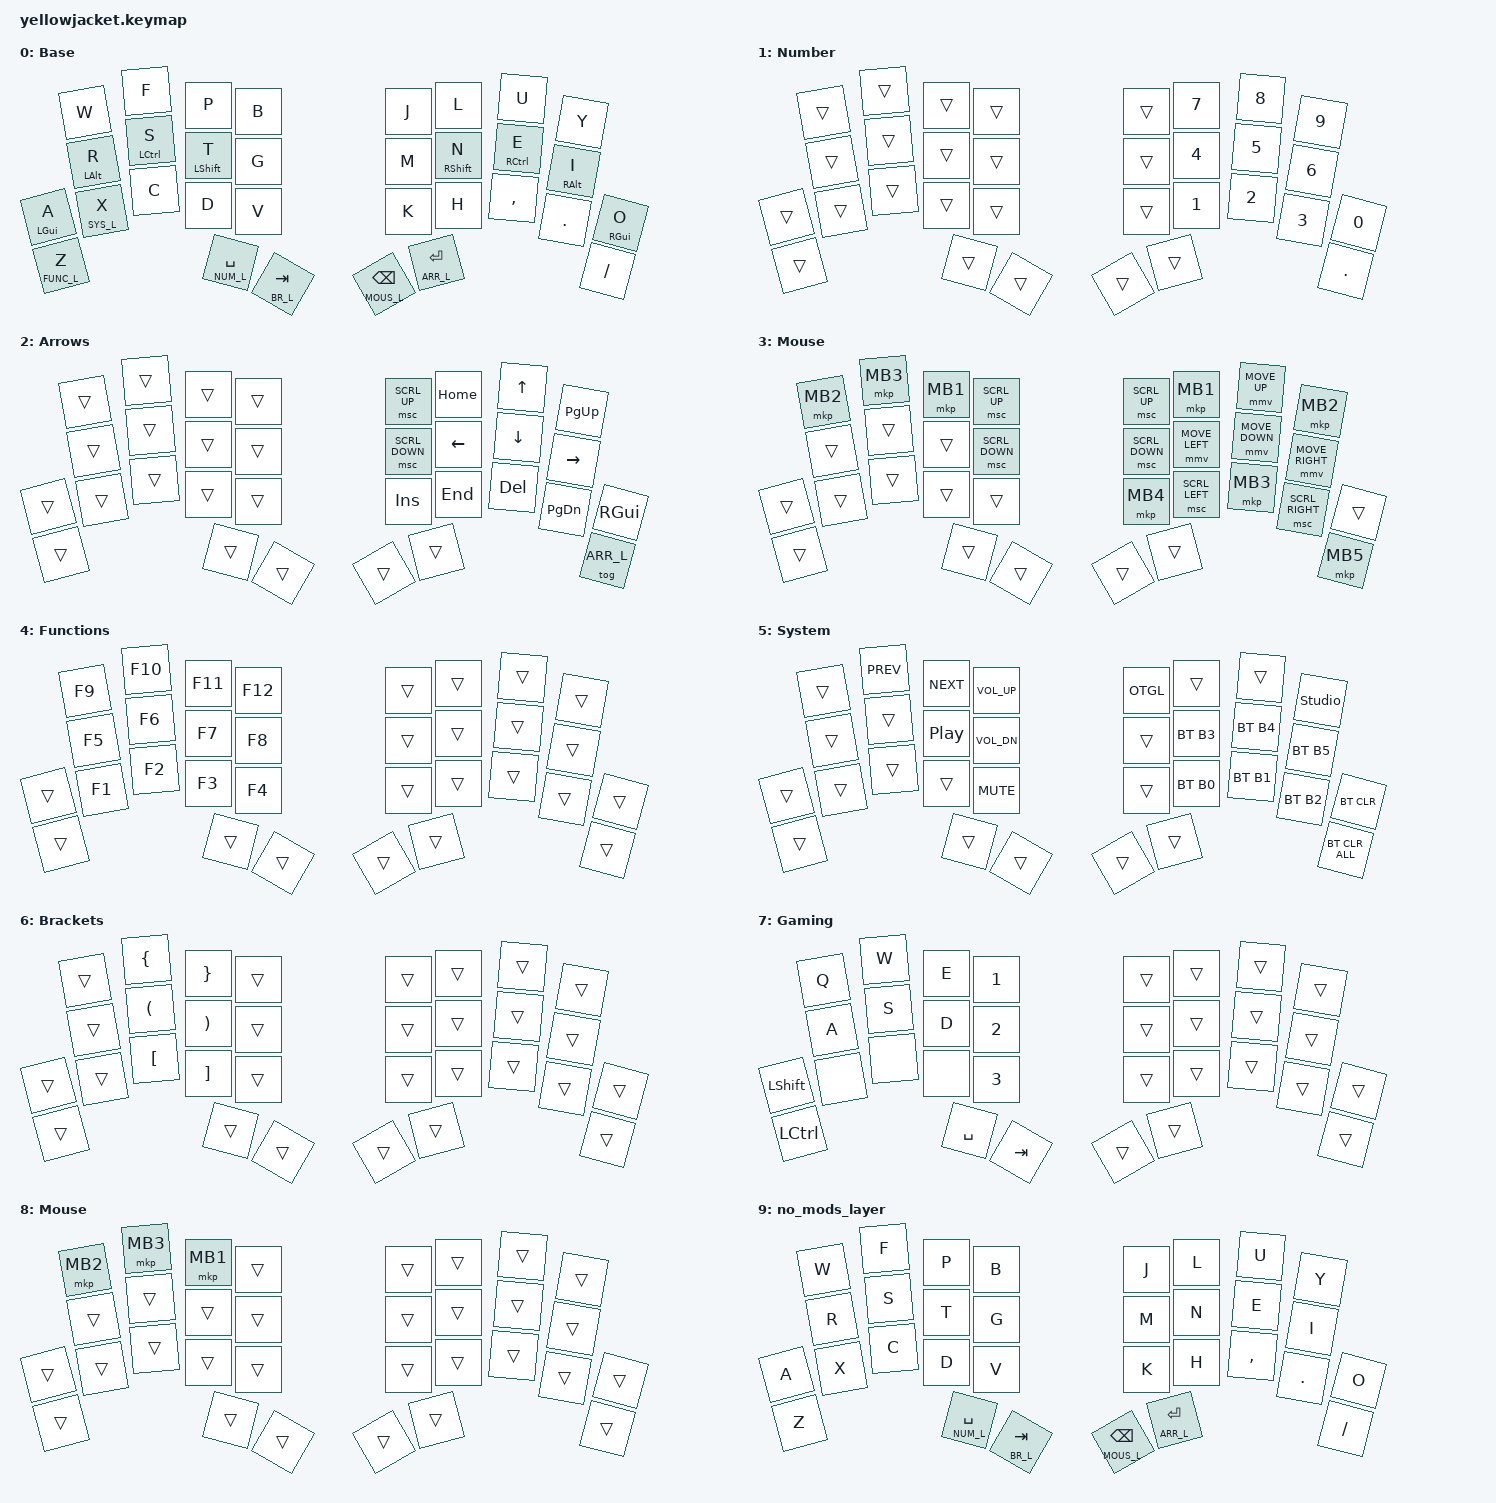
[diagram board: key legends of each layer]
/*
 * Copyright (c) 2020 The ZMK Contributors
 *
 * SPDX-License-Identifier: MIT
 */

#include <behaviors.dtsi>
#include <dt-bindings/zmk/bt.h>
#include <dt-bindings/zmk/ext_power.h>
#include <dt-bindings/zmk/keys.h>
#include <dt-bindings/zmk/outputs.h>

#define ZMK_POINTING_DEFAULT_MOVE_VAL 2000
#define ZMK_POINTING_DEFAULT_SCRL_VAL 20

#include <dt-bindings/zmk/pointing.h>


#define DEF_L   0
#define NUM_L   1
#define ARR_L   2
#define MOUS_L  3
#define FUNC_L  4
#define SYS_L   5
#define BR_L    6
#define GA_L    7
#define L_M_L   8
#define N_M_L   9

#define B0     BT_SEL 0
#define B1     BT_SEL 1
#define B2     BT_SEL 2
#define B3     BT_SEL 3
#define B4     BT_SEL 4
#define B5     BT_SEL 5
#define OTGL   out OUT_TOG
#define BT_C   BT_CLR
#define BT_C_A BT_CLR_ALL

/ {

    behaviors {
        hm: homerow_mods {
            compatible = "zmk,behavior-hold-tap";
            #binding-cells = <2>;
            tapping-term-ms = <150>;
            quick-tap-ms = <150>;
            flavor = "balanced";
            bindings = <&kp>, <&kp>;
        };

        lt_qk: layer_tap_quick {
            compatible = "zmk,behavior-hold-tap";
            #binding-cells = <2>;
            tapping-term-ms = <150>;
            quick-tap-ms = <150>;
            flavor = "balanced";
            bindings = <&mo>, <&kp>;
        };
    };

    combos {
        compatible = "zmk,combos";

        #define COMBO(NAME, BINDINGS, KEYPOS) \
          combo_##NAME { \
            bindings = <BINDINGS>; \
            key-positions = <KEYPOS>; \
            timeout-ms = <30>; \
          };
        /*                KEY POSITIONS

          ╭────────────────────╮ ╭────────────────────╮
          │      0   1   2   3 | |  4   5   6   7     │
          │  8   9  10  11  12 │ │ 13  14  15  16  17 │
          │ 18  19  20  21  22 │ │ 23  24  25  26  27 │
          ╰───────────╮ 28  29 │ │ 30  31 ╭───────────╯
                      ╰────────╯ ╰────────╯            */
        // Remap Q to combo
        combo_lower_q {
            bindings = <&kp Q>;
            key-positions = <9 10>;
            timeout-ms = <50>;
        };

        // Colon and semi-colon
        COMBO(colon,     &kp COLON, 15 16)
        COMBO(semicolon, &kp SEMI,  24 25)

        // Escape Keys
        COMBO(left_esc,  &kp ESC,  9 10 11)
        COMBO(right_esc, &kp ESC, 14 15 16)

        COMBO(caps_word_combo, &caps_word, 29 30)

        COMBO(one_shot_shift, &sk LSHIFT, 21 24)

        // Left hand quotes
        COMBO(q_grave_l,        &kp GRAVE,          9 29)
        COMBO(q_single_quote_l, &kp SINGLE_QUOTE,  10 29)
        COMBO(q_quote_l,        &kp DOUBLE_QUOTES, 11 29)
        COMBO(q_tilde_l,        &kp TILDE,          8 29)

        // Quick numbers
        COMBO(q_0, &kp N0, 31 17)
        COMBO(q_1, &kp N1, 24 31)
        COMBO(q_2, &kp N2, 25 31)
        COMBO(q_3, &kp N3, 26 31)
        COMBO(q_4, &kp N4, 14 31)
        COMBO(q_5, &kp N5, 15 31)
        COMBO(q_6, &kp N6, 16 31)
        COMBO(q_7, &kp N7,  5 31)
        COMBO(q_8, &kp N8,  6 31)
        COMBO(q_9, &kp N9,  7 31)

        // Quick special characters
        COMBO(q_1_sp, &kp EXCLAMATION, 24 30)
        COMBO(q_2_sp, &kp AT_SIGN,     25 30)
        COMBO(q_3_sp, &kp POUND,       26 30)
        COMBO(q_4_sp, &kp DOLLAR,      14 30)
        COMBO(q_5_sp, &kp PERCENT,     15 30)
        COMBO(q_6_sp, &kp CARET,       16 30)
        COMBO(q_7_sp, &kp AMPERSAND,    5 30)
        COMBO(q_8_sp, &kp ASTERISK,     6 30)
        COMBO(q_9_sp, &kp LPAR,         7 30)

        // Backslash && Pipe
        COMBO(q_backslash, &kp BACKSLASH, 30 27)
        COMBO(q_pipe, &kp PIPE, 27 31)

        // Operators
        COMBO(q_equals, &kp EQUAL, 23 30)
        COMBO(q_plus,   &kp PLUS,  4 30)

        // Dash right hand
        COMBO(q_dash, &kp MINUS, 13 30)

        // Underscore left hand
        COMBO(q_underscore, &kp UNDER, 12 29)

        // Toggle arrow, mouse, or gaming layer
        COMBO(tog_mouse_r,  &tog MOUS_L,		31 23)
        COMBO(tog_mouse_l,  &tog L_M_L,			29 22)
        COMBO(tog_arrow,    &tog ARR_L,			30 31)
        COMBO(tog_gaming,   &tog GA_L,			 4  7)
        COMBO(to_no_mods,   &tog N_M_L,			28 31)

        COMBO(v_not_working_combo, &kp V, 10 12)
    };

    conditional_layers {
        compatible = "zmk,conditional-layers";
    };

    keymap {
        compatible = "zmk,keymap";

        default_layer {
            label = "Base";
            bindings = <
        //               ╭─────────────┬─────────────┬─────────────┬─────────────╮   ╭─────────────┬─────────────┬─────────────┬─────────────╮
                           &kp W         &kp F         &kp P         &kp B             &kp J         &kp L         &kp U         &kp Y
             &hm LGUI A    &hm LALT R    &hm LCTRL S   &hm LSHIFT T  &kp G             &kp M         &hm RSHIFT N  &hm RCTRL E   &hm RALT I    &hm RGUI O
             &lt_qk FUNC_L Z  &lt_qk SYS_L X   &kp C         &kp D         &kp V             &kp K         &kp H         &kp COMMA     &kp DOT       &kp FSLH
        // ╰─────────────┴─────────────┴─────────────╮                                                           ╭─────────────┴─────────────┴─────────────╯
                                                    &lt_qk NUM_L SPACE  &lt_qk BR_L TAB &lt_qk MOUS_L BACKSPACE &lt_qk ARR_L ENTER
        //                                           ╰─────────────┴─────────────╯   ╰─────────────┴─────────────╯
            >;
        };

        num_layer {
            label = "Number";
            bindings = <
        //               ╭─────────────┬─────────────┬─────────────┬─────────────╮   ╭─────────────┬─────────────┬─────────────┬─────────────╮
                             &trans        &trans        &trans        &trans              &trans       &kp N7        &kp N8        &kp N9
               &trans        &trans        &trans        &trans        &trans              &trans       &kp N4        &kp N5        &kp N6        &kp N0
               &trans        &trans        &trans        &trans        &trans              &trans       &kp N1        &kp N2        &kp N3        &kp DOT
        // ╰─────────────┴─────────────┴─────────────╮                                                           ╭─────────────┴─────────────┴─────────────╯
                                                         &trans        &trans              &trans       &trans
        //                                           ╰─────────────┴─────────────╯   ╰─────────────┴─────────────╯
            >;
        };

        arrow_layer {
            label = "Arrows";
            bindings = <
        //               ╭─────────────┬─────────────┬─────────────┬─────────────╮   ╭─────────────┬─────────────┬─────────────┬─────────────╮
                             &trans        &trans        &trans        &trans            &msc SCRL_UP   &kp HOME      &kp UP        &kp PG_UP
               &trans        &trans        &trans        &trans        &trans            &msc SCRL_DOWN &kp LEFT      &kp DOWN      &kp RIGHT     &kp RGUI
               &trans        &trans        &trans        &trans        &trans            &kp INS        &kp END       &kp DEL       &kp PG_DN     &tog ARR_L
        // ╰─────────────┴─────────────┴─────────────╮                                                           ╭─────────────┴─────────────┴─────────────╯
                                                         &trans        &trans            &trans         &trans
        //                                           ╰─────────────┴─────────────╯   ╰─────────────┴─────────────╯
            >;
        };

        mouse_layer {
            label = "Mouse";
            bindings = <
        //               ╭─────────────┬─────────────┬─────────────┬─────────────╮   ╭─────────────┬─────────────┬─────────────┬─────────────╮
                             &mkp MB2      &mkp MB3      &mkp MB1      &msc SCRL_UP     &msc SCRL_UP    &mkp MB1       &mmv MOVE_UP     &mkp MB2
               &trans        &trans        &trans        &trans        &msc SCRL_DOWN   &msc SCRL_DOWN  &mmv MOVE_LEFT &mmv MOVE_DOWN   &mmv MOVE_RIGHT &trans
               &trans        &trans        &trans        &trans        &trans           &mkp MB4        &msc SCRL_LEFT &mkp MB3         &msc SCRL_RIGHT &mkp MB5
        // ╰─────────────┴─────────────┴─────────────╮                                                           ╭─────────────┴─────────────┴─────────────╯
                                                         &trans        &trans           &trans          &trans
        //                                           ╰─────────────┴─────────────╯   ╰─────────────┴─────────────╯
            >;
        };

        function_layer {
            label = "Functions";
            bindings = <
        //               ╭─────────────┬─────────────┬─────────────┬─────────────╮   ╭─────────────┬─────────────┬─────────────┬─────────────╮
                             &kp F9        &kp F10       &kp F11       &kp F12             &trans       &trans        &trans        &trans
               &trans        &kp F5        &kp F6        &kp F7        &kp F8              &trans       &trans        &trans        &trans        &trans
               &trans        &kp F1        &kp F2        &kp F3        &kp F4              &trans       &trans        &trans        &trans        &trans
        // ╰─────────────┴─────────────┴─────────────╮                                                           ╭─────────────┴─────────────┴─────────────╯
                                                         &trans        &trans              &trans       &trans
        //                                           ╰─────────────┴─────────────╯   ╰─────────────┴─────────────╯
            >;
        };
        
        sys_layer {
            label = "System";
            bindings = <
        //               ╭─────────────┬─────────────┬─────────────┬─────────────╮   ╭─────────────┬─────────────┬─────────────┬─────────────╮
                           &trans         &kp C_PREV    &kp C_NEXT     &kp C_VOL_UP       &OTGL          &trans      &trans        &studio_unlock
             &trans        &trans         &trans        &kp C_PP       &kp C_VOL_DN       &trans         &bt B3      &bt B4        &bt B5         &bt BT_C 
             &trans        &trans         &trans        &trans         &kp C_MUTE         &trans         &bt B0      &bt B1        &bt B2         &bt BT_CLR_ALL 
        // ╰─────────────┴─────────────┴─────────────╮                                                           ╭─────────────┴─────────────┴─────────────╯
                                                        &trans         &trans             &trans         &trans
        //                                           ╰─────────────┴─────────────╯   ╰─────────────┴─────────────╯
            >;
        };

        bra_layer {
            label = "Brackets";
            bindings = <
        //               ╭─────────────┬─────────────┬─────────────┬─────────────╮   ╭─────────────┬─────────────┬─────────────┬─────────────╮
                             &trans        &kp LBRC      &kp RBRC      &trans            &trans         &trans        &trans        &trans
               &trans        &trans        &kp LPAR      &kp RPAR      &trans            &trans         &trans        &trans        &trans        &trans
               &trans        &trans        &kp LBKT      &kp RBKT      &trans            &trans         &trans        &trans        &trans        &trans
        // ╰─────────────┴─────────────┴─────────────╮                                                           ╭─────────────┴─────────────┴─────────────╯
                                                         &trans        &trans            &trans        &trans
        //                                           ╰─────────────┴─────────────╯   ╰─────────────┴─────────────╯
            >;
        };

        gaming_layer {
            label = "Gaming";
            bindings = <
        //               ╭─────────────┬─────────────┬─────────────┬─────────────╮   ╭─────────────┬─────────────┬─────────────┬─────────────╮
                             &kp Q         &kp W         &kp E         &kp N1            &trans         &trans        &trans        &trans
               &kp LSHIFT    &kp A         &kp S         &kp D         &kp N2            &trans         &trans        &trans        &trans        &trans
               &kp LCTRL     &none         &none         &none         &kp N3            &trans         &trans        &trans        &trans        &trans
        // ╰─────────────┴─────────────┴─────────────╮                                                           ╭─────────────┴─────────────┴─────────────╯
                                                         &kp SPACE     &kp TAB           &trans        &trans
        //                                           ╰─────────────┴─────────────╯   ╰─────────────┴─────────────╯
            >;
        };

        mouse_layer_2 {
            label = "Mouse";
            bindings = <
        //               ╭─────────────┬─────────────┬─────────────┬─────────────╮   ╭─────────────┬─────────────┬─────────────┬─────────────╮
                             &mkp MB2      &mkp MB3      &mkp MB1      &trans           &trans          &trans       &trans         &trans
               &trans        &trans        &trans        &trans        &trans           &trans          &trans       &trans         &trans       &trans
               &trans        &trans        &trans        &trans        &trans           &trans          &trans       &trans         &trans       &trans
        // ╰─────────────┴─────────────┴─────────────╮                                                           ╭─────────────┴─────────────┴─────────────╯
                                                         &trans        &trans           &trans          &trans
        //                                           ╰─────────────┴─────────────╯   ╰─────────────┴─────────────╯
            >;
        };

        no_mods_layer {
            bindings = <
        //               ╭─────────────┬─────────────┬─────────────┬─────────────╮   ╭─────────────┬─────────────┬─────────────┬─────────────╮
							  &kp W       &kp F         &kp P         &kp B             &kp J         &kp L         &kp U         &kp Y
             &kp A			  &kp R		  &kp S			&kp T		  &kp G             &kp M         &kp N			&kp E		  &kp I			&kp O
             &kp Z			  &kp X		  &kp C         &kp D         &kp V             &kp K         &kp H         &kp COMMA     &kp DOT       &kp FSLH
        // ╰─────────────┴─────────────┴─────────────╮                                                           ╭─────────────┴─────────────┴─────────────╯
                                                    &lt_qk NUM_L SPACE  &lt_qk BR_L TAB &lt_qk MOUS_L BACKSPACE &lt_qk ARR_L ENTER
        //                                           ╰─────────────┴─────────────╯   ╰─────────────┴─────────────╯
            >;
        };
    };
};

/*
        _layer {
            label = "";
            bindings = <
        //               ╭─────────────┬─────────────┬─────────────┬─────────────╮   ╭─────────────┬─────────────┬─────────────┬─────────────╮
                           &none         &none         &none         &none             &none         &kp F9        &kp F10       &kp F11
             &none         &none         &none         &none         &none             &none         &kp F1        &kp F2        &kp F3        &kp F4 
             &none         &none         &none         &none         &none             &none         &kp F5        &kp F6        &kp F7        &kp F8 
        // ╰─────────────┴─────────────┴─────────────╮                                                           ╭─────────────┴─────────────┴─────────────╯
                                                       &none         &none             &none         &none
        //                                           ╰─────────────┴─────────────╯   ╰─────────────┴─────────────╯
            >;
        };
*/
